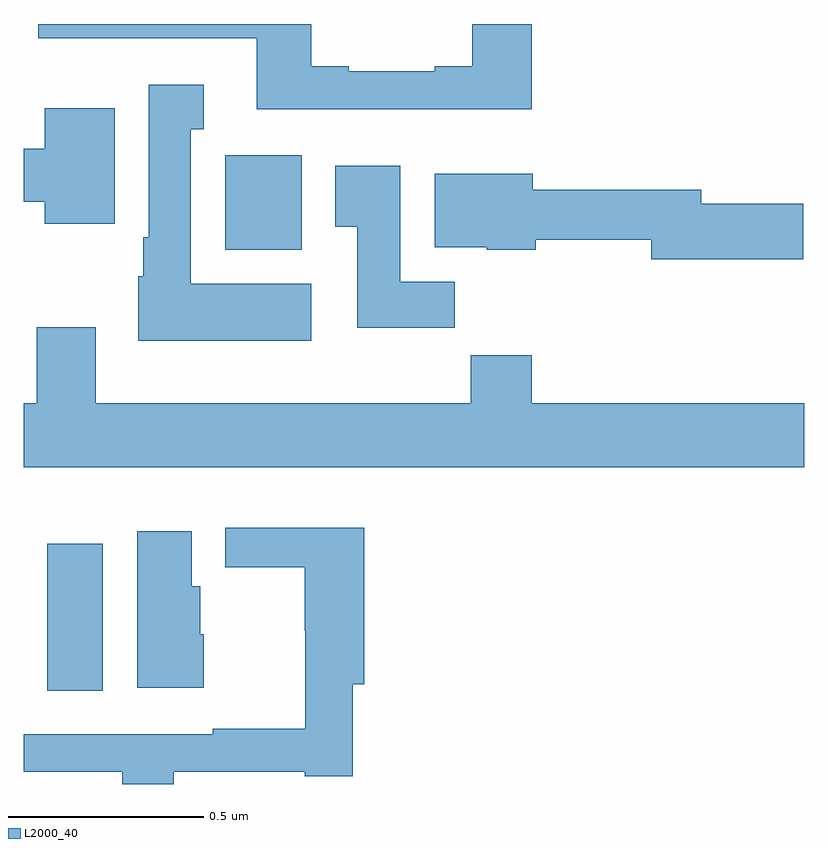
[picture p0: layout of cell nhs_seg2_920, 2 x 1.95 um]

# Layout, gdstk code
import gdstk
lib = gdstk.Library(unit=1e-6, precision=1e-09)
def R(c, l, rs):  # rectangles x0, y0, x1, y1
    for r in rs: c.add(gdstk.rectangle(r[:2], r[2:], *l))
def P(c, l, *ps):  # polygons
    for p in ps: c.add(gdstk.Polygon(p, *l))
L2000_40 = (2000, 40)

nhs_seg2_920 = lib.new_cell('nhs_seg2_920')
R(nhs_seg2_920, L2000_40, [(122.06,619.092,122.203,619.468), (122.516,620.222,122.713,620.464)])
P(nhs_seg2_920, L2000_40, [(123.302,620.8),(123.149,620.8),(123.149,620.692),(123.053,620.692),(123.053,620.679),(122.833,620.679),(122.833,620.692),(122.737,620.692),(122.737,620.8),(122.037,620.8),(122.037,620.763),(122.597,620.763),(122.597,620.582),(123.302,620.582)],
  [(122.737,620.134),(122.428,620.134),(122.428,620.531),(122.461,620.531),(122.461,620.644),(122.321,620.644),(122.321,620.254),(122.306,620.254),(122.306,620.154),(122.294,620.154),(122.294,619.988),(122.737,619.988)],
  [(122.233,620.584),(122.054,620.584),(122.054,620.48),(122,620.48),(122,620.344),(122.054,620.344),(122.054,620.288),(122.233,620.288)],
  [(123.104,620.14),(122.965,620.14),(122.965,620.437),(122.798,620.437),(122.798,620.281),(122.855,620.281),(122.855,620.022),(123.104,620.022)],
  [(123.997,620.339),(123.736,620.339),(123.736,620.375),(123.304,620.375),(123.304,620.416),(123.053,620.416),(123.053,620.228),(123.186,620.228),(123.186,620.222),(123.312,620.222),(123.312,620.247),(123.608,620.247),(123.608,620.197),(123.997,620.197)],
  [(124,619.828),(123.302,619.828),(123.302,619.952),(123.145,619.952),(123.145,619.828),(122.185,619.828),(122.185,620.023),(122.033,620.023),(122.033,619.828),(122,619.828),(122,619.664),(124,619.664)],
  [(122.385,618.885),(122.72,618.885),(122.72,618.873),(122.843,618.873),(122.843,619.109),(122.873,619.109),(122.873,619.51),(122.517,619.51),(122.517,619.408),(122.72,619.408),(122.72,619.245),(122.722,619.245),(122.722,618.994),(122.485,618.994),(122.485,618.981),(122,618.981),(122,618.885),(122.253,618.885),(122.253,618.853),(122.385,618.853)],
  [(122.461,619.236),(122.452,619.236),(122.452,619.359),(122.431,619.359),(122.431,619.501),(122.291,619.501),(122.291,619.1),(122.461,619.1)])

lib.write_gds('nhs_seg2_920.gds')
